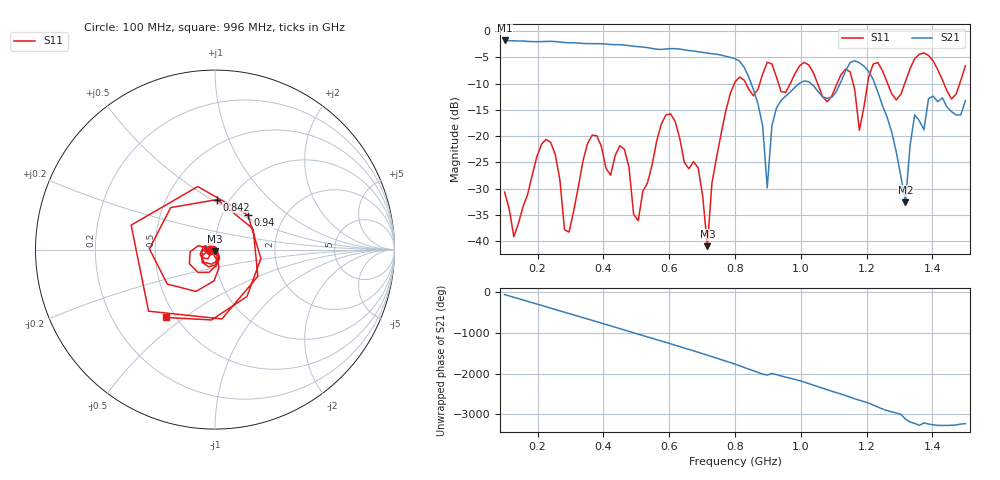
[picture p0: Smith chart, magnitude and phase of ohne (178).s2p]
! NanoVNA-App
! Date: 2025-09-25 14:22:11
! Start: 100MHz Stop: 1,5GHz Points: 101
! S-Parameter data: F S11 S21 S12 S22
# Hz S RI R 50
!  Frequency  S11_Real  S11_Imag  S21_Real  S21_Imag  S12_Real  S12_Imag  S22_Real  S22_Imag
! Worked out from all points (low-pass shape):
!   101 points, 100 MHz to 1.5 GHz, reference 50 ohm
!   highest |S21| = -1.80 dB at 100 MHz (marker M1); lowest = -32.6 dB at 1.318 GHz (marker M2)
!   |S21| within 3 dB of the highest: start of sweep to 771.6 MHz
!   lowest |S11| = -40.9 dB at 716 MHz (marker M3), VSWR 1.02, Z = 49.7 - j0.859 ohm
!   |S11| at or under -10 dB: start of sweep to 798 MHz; 833.2 MHz to 875.1 MHz (41.91 MHz wide, 4.91 % of centre); 1.051 GHz to 1.11 GHz (59.02 MHz wide, 5.46 % of centre)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
!   S12 and S22 are empty: the file has one direction only
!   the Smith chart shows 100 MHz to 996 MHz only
!   S11 on the Smith chart (normalised r, x): 100 MHz: 0.94, -0.01; 842 MHz: 0.88, +0.53; 940 MHz: 1.32, +0.55; 996 MHz: 0.45, -0.43
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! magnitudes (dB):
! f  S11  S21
! 100 MHz  -30.6  -1.8
! 128 MHz  -39.1  -1.9
! 226 MHz  -20.6  -2.0
! 296 MHz  -38.2  -2.2
! 338 MHz  -24.8  -2.4
! 464 MHz  -22.5  -2.7
! 506 MHz  -36.1  -3.0
! 576 MHz  -17.7  -3.5
! 688 MHz  -26.0  -3.9
! 716 MHz  -40.9  -4.2
! 800 MHz  -9.7  -5.3
! 842 MHz  -11.1  -8.8
! 898 MHz  -5.9  -29.8
! 940 MHz  -11.5  -13.2
! 996 MHz  -6.6  -9.9
! 1.038 GHz  -7.9  -10.4
! 1.178 GHz  -18.9  -6.0
! 1.22 GHz  -6.3  -9.2
! 1.276 GHz  -11.9  -19.2
! 1.318 GHz  -9.6  -32.6
! 1.346 GHz  -5.2  -15.9
! 1.5 GHz  -6.6  -13.3
